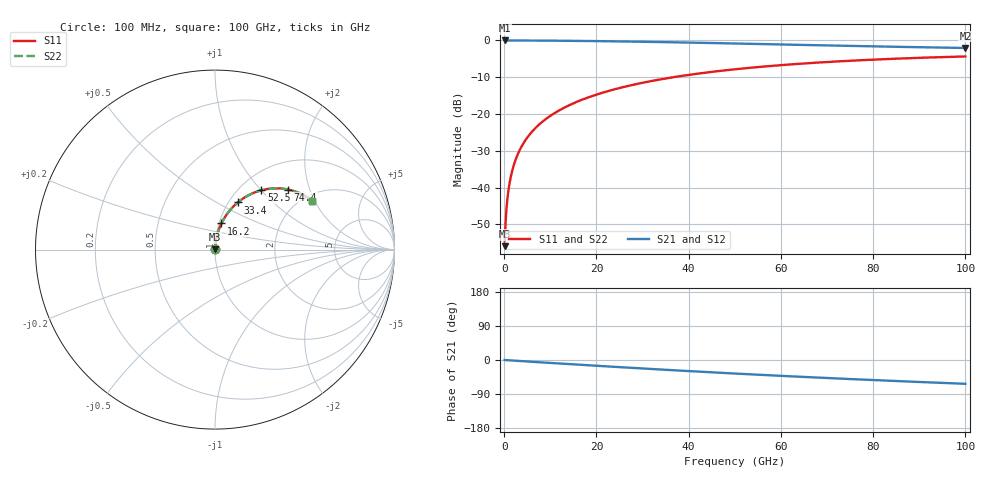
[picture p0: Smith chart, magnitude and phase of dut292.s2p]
! Touchstone file exported from HFSS 2026.1.0
!  File:  C:/ffzhzh/LocalFiles/Ansys_Project_Files/temp_train_RDL_292_1783502216_9504.aedt
!  Generated:  05:18:10 PM Jul  8, 2026
!  Design:  RDL
!  Project:  temp_train_RDL_292_1783502216_9504
! Variables:
!  h_bsmrdl = 2um
!  h_ox = 20um
!  h_rdl = 5um
!  h_sub = 80um
!  h_tmrdl = 2.86um
!  h_tsv = 80um
!  h_via = 3um
!  l_bsmrdl = 300um
!  l_sub = 551.52um
!  l_tmrdl = 151.52um
!  m_sub = 200um
!  pitch = 55.27um
!  r_tsv = 6um
!  s_tmrdl = 10um
!  w_bsmrdl = 18um
!  w_sub = 500um
!  w_tmrdl = 19.19um
!  x_tsv_center1 = 161.115um
!  x_tsv_center2 = 479.115um
!  x_tsv_center3 = 649.825um
!  x_tsv_center4 = 967.825um
!  x_tsv_center5 = 1138.535um
!  x_tsv_center6 = 1456.535um
# GHz S MA R 50.000000
! Terminal data exported
! Port[1] = TM_RDL1_1_T1
! Port[2] = TM_RDL1_1_T2
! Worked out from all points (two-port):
!   1000 points, 100 MHz to 100 GHz, reference 50 ohm
!   highest |S21| = -0.01 dB at 100 MHz (marker M1); lowest = -2.1 dB at 100 GHz (marker M2)
!   |S21| within 3 dB of the highest: start of sweep to end of sweep
!   lowest |S11| = -55.9 dB at 100 MHz (marker M3), VSWR 1.00, Z = 50.1 + j0.101 ohm
!   |S11| at or under -10 dB: start of sweep to 36.69 GHz
!   |S22| runs from -55.9 to -4.4 dB; largest |S21 - S12| = 6.2e-15
!   S11 on the Smith chart (normalised r, x): 100 MHz: 1.00, +0.00; 16.2 GHz: 1.03, +0.31; 33.4 GHz: 1.10, +0.63; 52.5 GHz: 1.25, +1.00; 74.4 GHz: 1.56, +1.44; 100 GHz: 2.22, +1.91
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0.1  0.001598 39.3  0.9988 -0.1  0.9988 -0.1  0.001598 39.3
! Gamma 0 0 0 0
! Port Impedance 50 0 50 0
0.4  0.004199 71.1  0.9987 -0.3  0.9987 -0.3  0.004199 71.1
0.8  0.007936 78.8  0.9985 -0.6  0.9985 -0.6  0.007936 78.8
1.1  0.01076 81.1  0.9984 -0.9  0.9984 -0.9  0.01076 81.1
1.4  0.01359 82.4  0.9984 -1.1  0.9984 -1.1  0.01359 82.4
1.9  0.01833 83.6  0.9983 -1.5  0.9983 -1.5  0.01833 83.6
2.4  0.02308 84.1  0.9981 -1.9  0.9981 -1.9  0.02308 84.1
3.1  0.02972 84.3  0.9979 -2.4  0.9979 -2.4  0.02972 84.3
3.9  0.03731 84.2  0.9975 -3.0  0.9975 -3.0  0.03731 84.2
5.9  0.05618 83.3  0.9964 -4.6  0.9964 -4.6  0.05618 83.3
8.6  0.08137 81.6  0.9942 -6.7  0.9942 -6.7  0.08137 81.6
12  0.1126 79.2  0.9906 -9.2  0.9906 -9.2  0.1126 79.2
16.2  0.1502 76.2  0.985 -12.4  0.985 -12.4  0.1502 76.2
16.8  0.1555 75.8  0.9841 -12.8  0.9841 -12.8  0.1555 75.8
24.2  0.2188 70.6  0.9713 -18.3  0.9713 -18.3  0.2188 70.5
33.4  0.2918 64.2  0.9513 -24.8  0.9513 -24.8  0.2918 64.2
50.1  0.4057 53.4  0.9081 -35.8  0.9081 -35.8  0.4057 53.4
52.5  0.42 52.0  0.9016 -37.3  0.9016 -37.3  0.42 51.9
66.7  0.4939 43.7  0.8633 -45.7  0.8633 -45.7  0.4939 43.6
74.4  0.5268 39.5  0.8437 -49.9  0.8437 -49.9  0.5268 39.4
83.4  0.5596 34.8  0.8225 -54.7  0.8225 -54.7  0.5596 34.7
100  0.6054 26.7  0.7895 -62.8  0.7895 -62.8  0.6054 26.6
